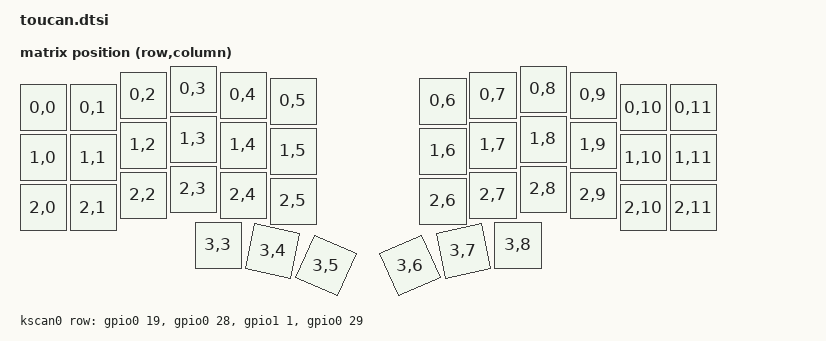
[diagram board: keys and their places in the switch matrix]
#include <input/processors.dtsi>
#include <dt-bindings/input/input-event-codes.h>
#include <dt-bindings/zmk/input_transform.h>
#include <dt-bindings/zmk/keys.h>
#include <dt-bindings/zmk/matrix_transform.h>
#include <physical_layouts.dtsi>

//#define TOUCAN_WIN_MODE

/ {
    chosen {
        zmk,kscan = &kscan0;
        zmk,physical-layout = &default_layout;
        //zmk,physical-layout = &physical_layout0;
    };

    kscan0: kscan_0 {
        compatible = "zmk,kscan-gpio-matrix";
        diode-direction = "col2row";
        wakeup-source;

    row-gpios
    = <&gpio0 19 (GPIO_ACTIVE_HIGH | GPIO_PULL_DOWN)>
    , <&gpio0 28 (GPIO_ACTIVE_HIGH | GPIO_PULL_DOWN)>
    , <&gpio1 1 (GPIO_ACTIVE_HIGH | GPIO_PULL_DOWN)>
    , <&gpio0 29 (GPIO_ACTIVE_HIGH | GPIO_PULL_DOWN)>
    ;
    };

    default_layout: default_layout {
        compatible = "zmk,physical-layout";
        display-name = "Default Layout";
        transform = <&default_transform>;

        keys  //                     w   h    x    y     rot    rx    ry
            = <&key_physical_attrs 100 100    0   37       0     0     0>
            , <&key_physical_attrs 100 100  100   37       0     0     0>
            , <&key_physical_attrs 100 100  200   12       0     0     0>
            , <&key_physical_attrs 100 100  300    0       0     0     0>
            , <&key_physical_attrs 100 100  400   12       0     0     0>
            , <&key_physical_attrs 100 100  500   24       0     0     0>
            , <&key_physical_attrs 100 100  800   24       0     0     0>
            , <&key_physical_attrs 100 100  900   12       0     0     0>
            , <&key_physical_attrs 100 100 1000    0       0     0     0>
            , <&key_physical_attrs 100 100 1100   12       0     0     0>
            , <&key_physical_attrs 100 100 1200   37       0     0     0>
            , <&key_physical_attrs 100 100 1300   37       0     0     0>
            , <&key_physical_attrs 100 100    0  137       0     0     0>
            , <&key_physical_attrs 100 100  100  137       0     0     0>
            , <&key_physical_attrs 100 100  200  112       0     0     0>
            , <&key_physical_attrs 100 100  300  100       0     0     0>
            , <&key_physical_attrs 100 100  400  112       0     0     0>
            , <&key_physical_attrs 100 100  500  124       0     0     0>
            , <&key_physical_attrs 100 100  800  124       0     0     0>
            , <&key_physical_attrs 100 100  900  112       0     0     0>
            , <&key_physical_attrs 100 100 1000  100       0     0     0>
            , <&key_physical_attrs 100 100 1100  112       0     0     0>
            , <&key_physical_attrs 100 100 1200  137       0     0     0>
            , <&key_physical_attrs 100 100 1300  137       0     0     0>
            , <&key_physical_attrs 100 100    0  237       0     0     0>
            , <&key_physical_attrs 100 100  100  237       0     0     0>
            , <&key_physical_attrs 100 100  200  212       0     0     0>
            , <&key_physical_attrs 100 100  300  200       0     0     0>
            , <&key_physical_attrs 100 100  400  212       0     0     0>
            , <&key_physical_attrs 100 100  500  224       0     0     0>
            , <&key_physical_attrs 100 100  800  224       0     0     0>
            , <&key_physical_attrs 100 100  900  212       0     0     0>
            , <&key_physical_attrs 100 100 1000  200       0     0     0>
            , <&key_physical_attrs 100 100 1100  212       0     0     0>
            , <&key_physical_attrs 100 100 1200  237       0     0     0>
            , <&key_physical_attrs 100 100 1300  237       0     0     0>
            , <&key_physical_attrs 100 100  350  312       0     0     0>
            , <&key_physical_attrs 100 100  450  312    1200   450   412>
            , <&key_physical_attrs 100 100  548  328    2400   548   433>
            , <&key_physical_attrs 100 100  752  328  (-2400)  852   433>
            , <&key_physical_attrs 100 100  850  312  (-1200)  950   412>
            , <&key_physical_attrs 100 100  950  312       0     0     0>
            ;
    };

    default_transform: keymap_transform_0 {
        compatible = "zmk,matrix-transform";
        columns = <12>;
        rows = <4>;
        // | SW1  | SW2  | SW3  | SW4  | SW5  | SW6  |   | SW6  | SW5  | SW4  | SW3  | SW2  | SW1  |
        // | SW7  | SW8  | SW9  | SW10 | SW11 | SW12 |   | SW12 | SW11 | SW10 | SW9  | SW8  | SW7  |
        // | SW13 | SW14 | SW15 | SW16 | SW17 | SW18 |   | SW18 | SW17 | SW16 | SW15 | SW14 | SW13 |
        //                      | SW19 | SW20 | SW21 |   | SW21 | SW20 | SW19 |
                map = <
        RC(0,0) RC(0,1) RC(0,2) RC(0,3) RC(0,4) RC(0,5)  RC(0,6) RC(0,7) RC(0,8) RC(0,9) RC(0,10) RC(0,11)
        RC(1,0) RC(1,1) RC(1,2) RC(1,3) RC(1,4) RC(1,5)  RC(1,6) RC(1,7) RC(1,8) RC(1,9) RC(1,10) RC(1,11)
        RC(2,0) RC(2,1) RC(2,2) RC(2,3) RC(2,4) RC(2,5)  RC(2,6) RC(2,7) RC(2,8) RC(2,9) RC(2,10) RC(2,11)
                                RC(3,3) RC(3,4) RC(3,5)  RC(3,6) RC(3,7) RC(3,8)
        >;
    };
};

/ {
    input_processors {
        zip_zoom_mapper: zip_zoom_mapper {
            compatible = "zmk,input-processor-zoom";
            #input-processor-cells = <0>;
            event-code = <INPUT_REL_MISC>;
            sensitivity = <10>;
#ifdef TOUCAN_WIN_MODE
            bindings = <&kp LC(MINUS)>, <&kp LC(EQUAL)>;
#else
            bindings = <&kp LG(MINUS)>, <&kp LG(EQUAL)>;
#endif
            track-remainders;
        };

        // Compensates for the trackpad being mounted at an angle. This is
        // beekeeb's "Thumb Angle" variant, where the pad is rotated
        // COUNTER-CLOCKWISE by about 35 degrees (its top edge rises to the
        // right) so it faces the thumb. The alternative "Column Angle" variant
        // mounts the same pad square to the case. Fingers arrive square to the
        // keyboard either way, so on this variant a stroke that feels "straight
        // up" lands on the sensor as a diagonal.
        //
        // Rotating the reported vector counter-clockwise by the same 35 degrees
        // cancels the mount angle out, making the pad behave like the Column
        // Angle version.
        //
        // Sign convention: positive is counter-clockwise on screen, and the
        // correction matches the pad's own counter-clockwise mount, so this is
        // POSITIVE. Flip the sign if the cursor tracks the wrong diagonal;
        // change the magnitude if the correction is too strong or too weak.
        //
        // This runs first so everything downstream (the activation gate and the
        // acceleration curve) works in the hand's frame rather than the
        // sensor's. Only pointer movement is affected: scroll and the two/three
        // finger swipes are resolved inside the Azoteq driver, upstream of every
        // input processor, so the gesture tuning tagged as `gestures-dialed-in`
        // is untouched.
        pointer_rotate: pointer_rotate {
            compatible = "zmk,input-processor-rotate";
            #input-processor-cells = <0>;
            angle = <35>;
            x-code = <INPUT_REL_X>;
            y-code = <INPUT_REL_Y>;
            reset-ms = <300>;
        };

        // Pointer acceleration plus a movement activation gate. This runs FIRST
        // in trackpad_listener's chain for two reasons: it should shape the raw
        // deltas before anything else looks at them, and it needs to observe
        // INPUT_BTN_TOUCH, which is_touching_processor consumes with
        // ZMK_INPUT_PROC_STOP before later processors ever see it.
        //
        //   - activation-distance: the first 8 counts of travel after each new
        //     touch are swallowed, so resting or brushing a finger while typing
        //     cannot nudge the cursor. It re-arms on every finger lift.
        //   - min-factor 800 keeps slow movement at 0.8x, which lands at the
        //     same deliberate, "sluggish" feel as the old bare sensitivity = 80
        //     now that the driver runs at its 100 baseline again.
        //   - Past speed-threshold the factor climbs on a quadratic curve to
        //     2.2x at speed-max. The quadratic keeps almost the whole low range
        //     near min-factor, so only a genuinely long stroke speeds up. The
        //     thresholds are deliberately conservative: if the pad reports
        //     slower than expected the curve degrades to a flat 0.8x rather
        //     than overshooting.
        //
        // If the pointer ever needs to go back to plain, unshaped movement,
        // drop &pointer_accel from trackpad_listener's input-processors below;
        // the driver's `sensitivity` then applies on its own.
        // track-remainders is required: with min-factor below 1.0 the sub-count
        // fractions would otherwise be truncated away and slow drags would stall.
        pointer_accel: pointer_accel {
            compatible = "zmk,input-processor-accel";
            #input-processor-cells = <0>;
            type = <INPUT_EV_REL>;
            codes = <INPUT_REL_X INPUT_REL_Y>;
            track-remainders;
            min-factor = <800>;
            max-factor = <2200>;
            speed-threshold = <500>;
            speed-max = <3000>;
            acceleration-exponent = <2>;
            activation-distance = <5>;
            activation-reset-ms = <300>;
        };

        // Collapses the driver's raw swipe samples into one correctly-directed
        // actuation per gesture. The driver picks a direction from the first
        // nonzero delta of a gesture and reports each axis independently, so
        // fingers settling at touchdown can fire the wrong axis; its throttle
        // then blocks the real direction for the rest of the window. That is
        // why a clean 3-finger up swipe lands instantly while a left/right one
        // is hard to trigger and hard to retry.
        //
        // three-finger-swipe-throttle-ms is turned down to 40 in
        // toucan_right.overlay so this node sees a stream of samples rather
        // than a single noisy one. It stays silent until one axis leads the
        // other by `lead` samples, emits exactly one press/release pair in the
        // winning direction, then blocks until the fingers lift. Net effect for
        // an unambiguous swipe is one actuation, same as before, about 40ms
        // later; retries no longer have to wait out a 1200ms lockout.
        //
        // To restore the old raw behavior: drop &swipe_arbiter from the
        // pipeline below and set the throttle back to 1200.
        swipe_arbiter: swipe_arbiter {
            compatible = "zmk,input-processor-swipe-arbiter";
            #input-processor-cells = <0>;
            lead = <2>;
            max-samples = <8>;
            reset-ms = <400>;
        };

        // Two-finger horizontal swipe -> browser/editor back and forward.
        //
        // The driver only reports swipe buttons for THREE-finger movement, so a
        // two-finger horizontal swipe arrives here as plain scroll on
        // INPUT_REL_HWHEEL. Sending that as a horizontal wheel does not produce
        // page navigation on macOS (that is a native trackpad gesture, not a
        // wheel event), so it is turned into real Cmd+[ / Cmd+] keystrokes,
        // which also work in VS Code and anywhere else those are bound.
        //
        // This sits before zip_scroll_scaler so it sees raw counts rather than
        // the 1/100-damped value, and fires at most once per gesture: the
        // remaining travel is swallowed so a long swipe navigates one page
        // instead of several. Swap the two bindings if the directions come out
        // reversed.
        hscroll_shortcut: hscroll_shortcut {
            compatible = "zmk,input-processor-scroll-shortcut";
            #input-processor-cells = <0>;
            event-code = <INPUT_REL_HWHEEL>;
            threshold = <120>;
            reset-ms = <300>;
#ifdef TOUCAN_WIN_MODE
            bindings = <&kp LA(LEFT)>, <&kp LA(RIGHT)>;
#else
            bindings = <&kp LG(LBKT)>, <&kp LG(RBKT)>;
#endif
        };

        is_touching_processor:is_touching_processor {
            compatible = "zmk,input-processor-behaviors";
            #input-processor-cells = <0>;

            codes = <INPUT_BTN_TOUCH>;      // watch for the 'touch' pseudo button
            bindings  = <&mo 4>;            // Activate Layer 4 while held &mo 4
        };

        // 3-finger swipe shortcuts. These come from the driver's
        // `three-finger-swipe` path (enabled in toucan_right.overlay);
        // `swipes` stays off there, so ordinary 1-finger cursor flicks can
        // never fire any of these.
        //
        //   - Up -> Option+Grave. This Mac's Mission Control shortcut is
        //     remapped to Opt+` in System Settings > Keyboard > Keyboard
        //     Shortcuts > Mission Control, NOT the Ctrl+Up default, so Ctrl+Up
        //     did nothing at all here.
        //   - Left/right -> AltTab (the third-party app), matching the
        //     "3-finger Horizontal Swipe" trigger configured on this Mac's
        //     built-in trackpad. AltTab's Shortcut 1 is Opt+Tab, so right
        //     sends Opt+Tab (next window) and left sends Opt+Shift+Tab
        //     (previous window). Firmware sends a discrete press/release, so
        //     one swipe = one window step rather than a held-open switcher.
        //
        //     This replaces the previous Cmd+[ / Cmd+] page navigation. Browser
        //     back/forward is still reachable from macOS's native "Swipe between
        //     pages" gesture, which reads the two-finger horizontal scroll the
        //     driver already emits as INPUT_REL_HWHEEL, as long as that setting
        //     includes the two-finger variant.
        //   - Down is left unbound: every other Mission Control shortcut
        //     ("Application windows" = Ctrl+Down, "Show Desktop" = F11) is
        //     unchecked on this Mac, so there is nothing useful to send.
        //
        // The driver reports each nonzero axis independently, so a strongly
        // diagonal swipe can emit a vertical *and* a horizontal shortcut in the
        // same actuation. Swipe reasonably straight; the 1200ms throttle in
        // toucan_right.overlay keeps one motion from repeating.
        swipe_button_mapper: swipe_button_mapper {
            compatible = "zmk,input-processor-behaviors";
            #input-processor-cells = <0>;
            codes = <INPUT_BTN_NORTH INPUT_BTN_EAST INPUT_BTN_SOUTH INPUT_BTN_WEST>;
#ifdef TOUCAN_WIN_MODE
            bindings = <&kp LG(TAB)>, <&kp LG(RIGHT)>, <&kp LG(D)>, <&kp LG(LEFT)>;
#else
            bindings = <&kp LA(GRAVE)>, <&kp LA(TAB)>, <&none>, <&kp LA(LS(TAB))>;
#endif
        };
    };


    split_inputs {
        #address-cells = <1>;
        #size-cells = <0>;

        trackpad_split: trackpad_split@0 {
            compatible = "zmk,input-split";
            reg = <0>;
        };
    };

    trackpad_listener: trackpad_listener {
        compatible = "zmk,input-listener";
        status = "disabled";
        device = <&trackpad_split>;
        // Scroll scaling: the tps43 driver reports raw trackpad counts as
        // INPUT_REL_WHEEL, and every wheel unit is a full scroll notch on the
        // host (~3 lines on macOS, then multiplied again by macOS's scroll
        // acceleration). At 1/20 a normal two-finger swipe produced dozens of
        // notches per second, which no amount of host-side tuning (System
        // Settings / LinearMouse) can tame. 1/100 with track-remainders (set
        // on zip_scroll_scaler upstream, so sub-notch motion is accumulated
        // rather than dropped) gives roughly one notch per 100 counts of
        // finger travel. Raise the divisor to slow scrolling further, lower it
        // to speed it up.
        //
        // zip_zoom_mapper is intentionally left out of this pipeline: the
        // pinch-to-zoom gesture it maps is disabled at the driver (see
        // toucan_right.overlay, `zoom;` removed), so it would never fire
        // anyway. Left in the tree (unreferenced) rather than deleted, in
        // case zoom is ever re-enabled.
        input-processors = <&pointer_rotate>, <&pointer_accel>, <&swipe_arbiter>, <&hscroll_shortcut>, <&zip_xy_scaler 100 100>, <&zip_scroll_scaler 1 100>, <&is_touching_processor>, <&swipe_button_mapper>;
        scroller {
            layers = <1 2>;
            input-processors = <
                &zip_xy_to_scroll_mapper
                &zip_scroll_scaler 1 100
                &zip_scroll_transform INPUT_TRANSFORM_X_INVERT
            >;
        };
    };
};
